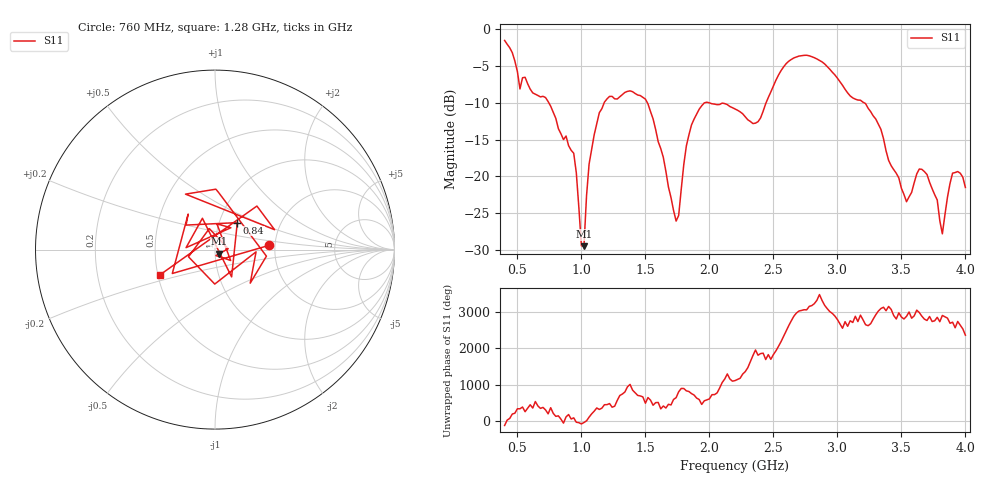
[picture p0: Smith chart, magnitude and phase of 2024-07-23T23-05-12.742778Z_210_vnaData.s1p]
!Created with skrf (http://scikit-rf.org).
# Hz S RI R 50.0
!freq ReS11 ImS11
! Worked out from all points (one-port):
!   181 points, 400 MHz to 4 GHz, reference 50 ohm
!   lowest |S11| = -29.5 dB at 1.02 GHz (marker M1), VSWR 1.07, Z = 52.5 - j2.37 ohm
!   |S11| at or under -10 dB: 1.516 GHz to 1.961 GHz (444.6 MHz wide, 25.6 % of centre); 2 GHz to 2.442 GHz (442.6 MHz wide, 19.9 % of centre); 3.21 GHz to end of sweep (the widest 3 of 4)
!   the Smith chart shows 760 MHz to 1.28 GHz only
!   S11 on the Smith chart (normalised r, x): 760 MHz: 1.85, +0.09; 840 MHz: 1.22, +0.38; 1.28 GHz: 0.51, -0.16
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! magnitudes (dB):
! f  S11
! 400 MHz  -1.5
! 520 MHz  -8.1
! 760 MHz  -10.5
! 840 MHz  -14.2
! 860 MHz  -15.0
! 940 MHz  -16.9
! 1 GHz  -29.4
! 1.02 GHz  -29.5
! 1.06 GHz  -18.3
! 1.1 GHz  -14.3
! 1.18 GHz  -9.9
! 1.28 GHz  -9.5
! 1.3 GHz  -9.2
! 1.52 GHz  -10.1
! 1.76 GHz  -25.3
! 1.82 GHz  -15.9
! 1.92 GHz  -10.9
! 2.2 GHz  -10.8
! 2.38 GHz  -12.6
! 2.66 GHz  -3.9
! 3.1 GHz  -9.1
! 3.3 GHz  -12.2
! 3.56 GHz  -22.8
! 3.68 GHz  -19.3
! 3.78 GHz  -23.2
! 3.82 GHz  -27.8
! 3.9 GHz  -19.6
! 4 GHz  -21.5
